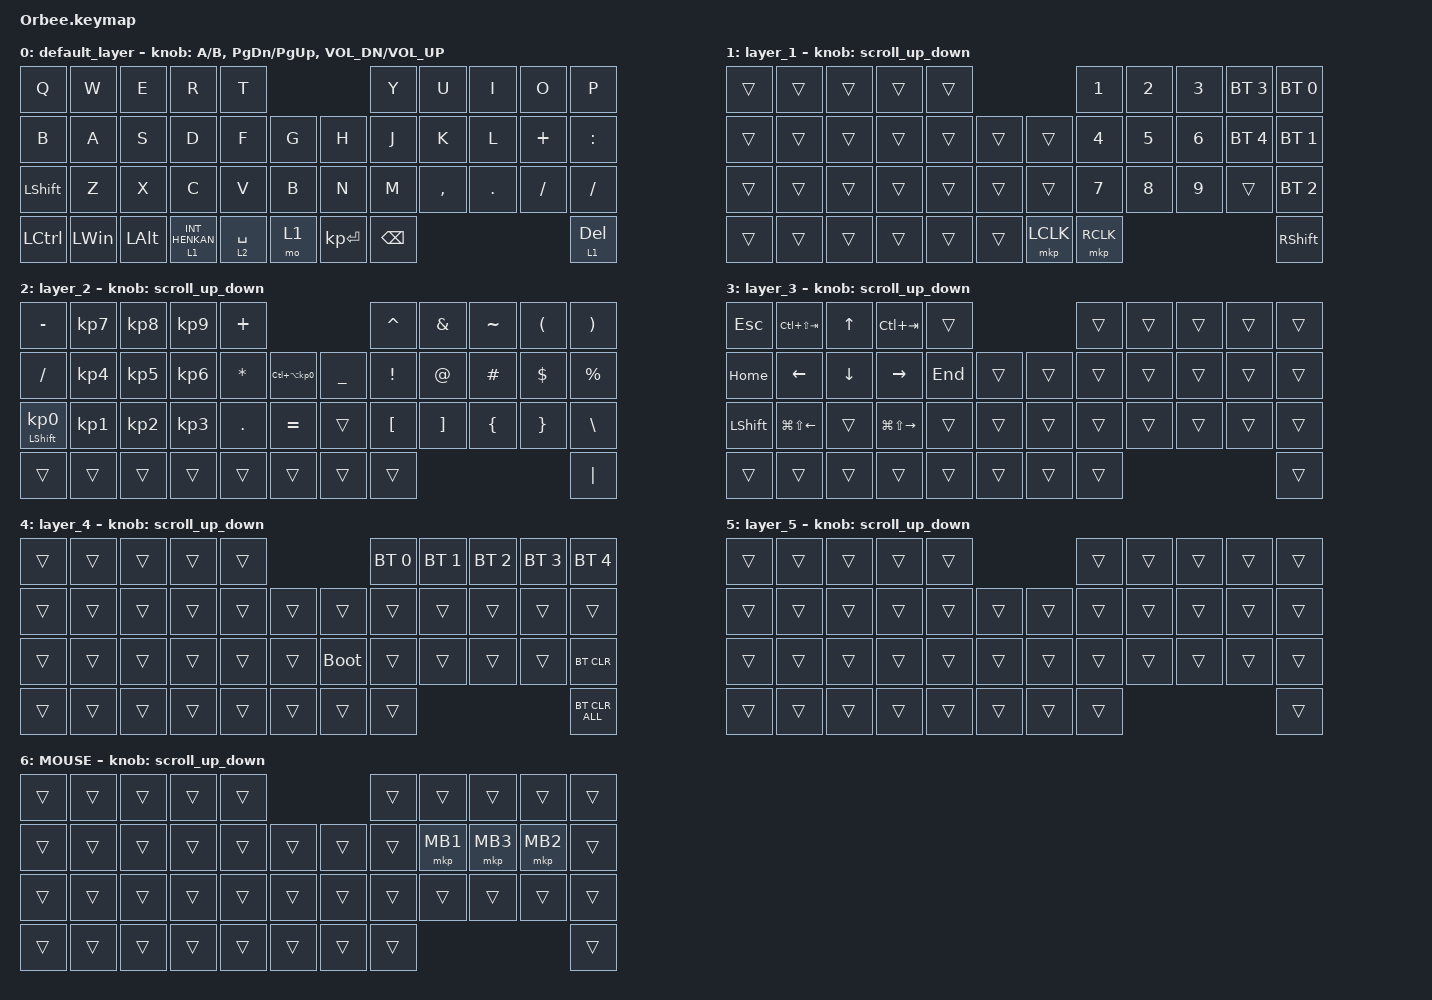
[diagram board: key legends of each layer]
#include <behaviors.dtsi>
#include <dt-bindings/zmk/bt.h>
#include <dt-bindings/zmk/keys.h>
#include <dt-bindings/zmk/pointing.h>

#define ZMK_POINTING_DEFAULT_SCRL_VAL 100
#define MOUSE 6

&mt {
    flavor = "balanced";
    quick-tap-ms = <0>;
};

/ {
    combos { compatible = "zmk,combos"; };

    macros {
        to_layer_0: to_layer_0 {
            compatible = "zmk,behavior-macro-one-param";
            #binding-cells = <1>;
            bindings = <&to 0 &macro_param_1to1 &kp MACRO_PLACEHOLDER>;
            label = "TO_LAYER_0";
        };
    };

    behaviors {
        lt_to_layer_0: lt_to_layer_0 {
            compatible = "zmk,behavior-hold-tap";
            label = "LAYER_TAP_TO_0";
            bindings = <&mo>, <&to_layer_0>;

            #binding-cells = <2>;
            tapping-term-ms = <200>;
        };

        scroll_up_down: behavior_sensor_rotate_mouse_wheel_up_down {
            compatible = "zmk,behavior-sensor-rotate";
            #sensor-binding-cells = <0>;
            bindings = <&msc SCRL_UP>, <&msc SCRL_DOWN>;

            tap-ms = <20>;
        };
    };

    keymap {
        compatible = "zmk,keymap";

        default_layer {
            bindings = <
&kp Q           &kp W         &kp E         &kp R             &kp T                               &kp Y          &kp U      &kp I       &kp O      &kp P
&kp B           &kp A         &kp S         &kp D             &kp F        &kp G    &kp H         &kp J          &kp K      &kp L       &kp PLUS   &kp COLON
&kp LEFT_SHIFT  &kp Z         &kp X         &kp C             &kp V        &kp B    &kp N         &kp M          &kp COMMA  &kp PERIOD  &kp SLASH  &kp SLASH
&kp LCTRL       &kp LEFT_WIN  &kp LEFT_ALT  &lt 1 INT_HENKAN  &lt 2 SPACE  &mo 1    &kp KP_ENTER  &kp BACKSPACE                                    &lt 1 DEL
            >;

            sensor-bindings =
                <&inc_dec_kp A B>,
                <&inc_dec_kp PG_DN PG_UP>,
                <&inc_dec_kp C_VOL_DN C_VOL_UP>;
        };

        layer_1 {
            bindings = <
&trans  &trans  &trans  &trans  &trans                       &kp NUMBER_1  &kp NUMBER_2  &kp NUMBER_3  &bt BT_SEL 3  &bt BT_SEL 0
&trans  &trans  &trans  &trans  &trans  &trans    &trans     &kp NUMBER_4  &kp N5        &kp NUMBER_6  &bt BT_SEL 4  &bt BT_SEL 1
&trans  &trans  &trans  &trans  &trans  &trans    &trans     &kp N7        &kp N8        &kp N9        &trans        &bt BT_SEL 2
&trans  &trans  &trans  &trans  &trans  &trans    &mkp LCLK  &mkp RCLK                                               &kp RIGHT_SHIFT
            >;

            sensor-bindings = <&scroll_up_down>;
        };

        layer_2 {
            bindings = <
&kp MINUS                   &kp KP_NUMBER_7  &kp KP_NUMBER_8  &kp KP_NUMBER_9  &kp PLUS                                                 &kp CARET         &kp AMPERSAND      &kp TILDE       &kp LEFT_PARENTHESIS  &kp RIGHT_PARENTHESIS
&kp SLASH                   &kp KP_NUMBER_4  &kp KP_NUMBER_5  &kp KP_NUMBER_6  &kp ASTERISK  &kp LC(LA(KP_NUMBER_0))    &kp UNDERSCORE  &kp EXCLAMATION   &kp AT_SIGN        &kp HASH        &kp DOLLAR            &kp PERCENT
&mt LEFT_SHIFT KP_NUMBER_0  &kp KP_NUMBER_1  &kp KP_NUMBER_2  &kp KP_NUMBER_3  &kp PERIOD    &kp EQUAL                  &trans          &kp LEFT_BRACKET  &kp RIGHT_BRACKET  &kp LEFT_BRACE  &kp RIGHT_BRACE       &kp BACKSLASH
&trans                      &trans           &trans           &trans           &trans        &trans                     &trans          &trans                                                                     &kp PIPE
            >;

            sensor-bindings = <&scroll_up_down>;
        };

        layer_3 {
            bindings = <
&kp ESCAPE      &kp LC(LS(TAB))         &kp UP_ARROW    &kp LC(TAB)              &trans                     &trans  &trans  &trans  &trans  &trans
&kp HOME        &kp LEFT_ARROW          &kp DOWN_ARROW  &kp RIGHT_ARROW          &kp END  &trans    &trans  &trans  &trans  &trans  &trans  &trans
&kp LEFT_SHIFT  &kp LG(LS(LEFT_ARROW))  &trans          &kp LG(LS(RIGHT_ARROW))  &trans   &trans    &trans  &trans  &trans  &trans  &trans  &trans
&trans          &trans                  &trans          &trans                   &trans   &trans    &trans  &trans                          &trans
            >;

            sensor-bindings = <&scroll_up_down>;
        };

        layer_4 {
            bindings = <
&trans  &trans  &trans  &trans  &trans                         &bt BT_SEL 0  &bt BT_SEL 1  &bt BT_SEL 2  &bt BT_SEL 3  &bt BT_SEL 4
&trans  &trans  &trans  &trans  &trans  &trans    &trans       &trans        &trans        &trans        &trans        &trans
&trans  &trans  &trans  &trans  &trans  &trans    &bootloader  &trans        &trans        &trans        &trans        &bt BT_CLR
&trans  &trans  &trans  &trans  &trans  &trans    &trans       &trans                                                  &bt BT_CLR_ALL
            >;

            sensor-bindings = <&scroll_up_down>;
        };

        layer_5 {
            bindings = <
&trans  &trans  &trans  &trans  &trans                    &trans  &trans  &trans  &trans  &trans
&trans  &trans  &trans  &trans  &trans  &trans    &trans  &trans  &trans  &trans  &trans  &trans
&trans  &trans  &trans  &trans  &trans  &trans    &trans  &trans  &trans  &trans  &trans  &trans
&trans  &trans  &trans  &trans  &trans  &trans    &trans  &trans                          &trans
            >;

            sensor-bindings = <&scroll_up_down>;
        };

        MOUSE {
            bindings = <
&trans  &trans  &trans  &trans  &trans                    &trans  &trans    &trans    &trans    &trans
&trans  &trans  &trans  &trans  &trans  &trans    &trans  &trans  &mkp MB1  &mkp MB3  &mkp MB2  &trans
&trans  &trans  &trans  &trans  &trans  &trans    &trans  &trans  &trans    &trans    &trans    &trans
&trans  &trans  &trans  &trans  &trans  &trans    &trans  &trans                                &trans
            >;

            sensor-bindings = <&scroll_up_down>;
        };
    };
};
